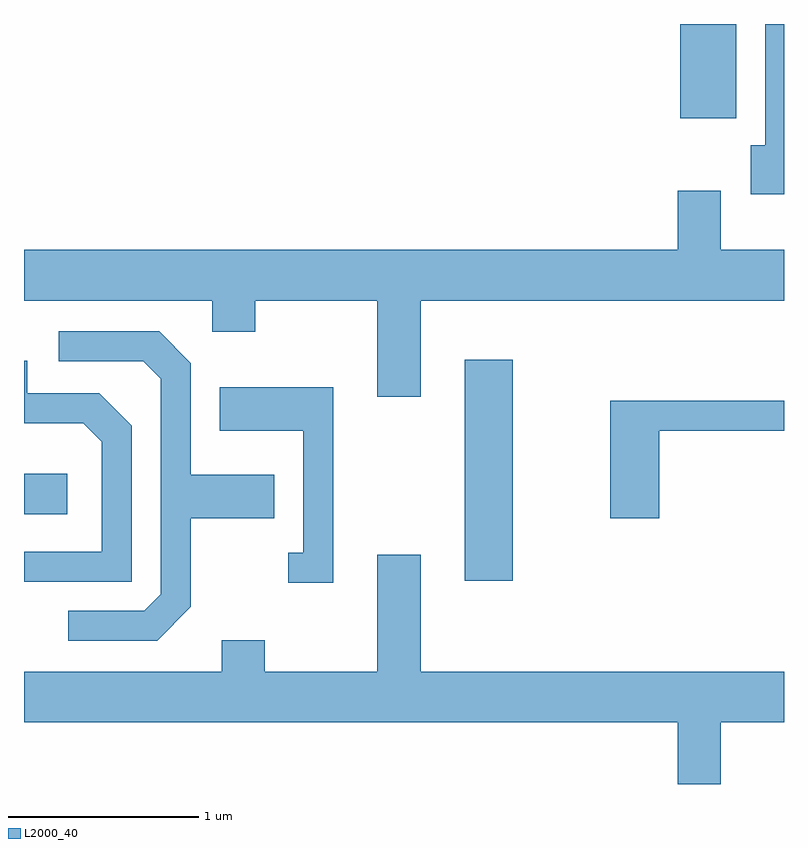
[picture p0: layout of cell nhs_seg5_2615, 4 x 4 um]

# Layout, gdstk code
import gdstk
lib = gdstk.Library(unit=1e-6, precision=1e-09)
def R(c, l, rs):  # rectangles x0, y0, x1, y1
    for r in rs: c.add(gdstk.rectangle(r[:2], r[2:], *l))
def P(c, l, *ps):  # polygons
    for p in ps: c.add(gdstk.Polygon(p, *l))
L2000_40 = (2000, 40)

nhs_seg5_2615 = lib.new_cell('nhs_seg5_2615')
R(nhs_seg5_2615, L2000_40, [(265.931,1413.141,266.184,1414.304), (263.611,1413.491,263.839,1413.704), (267.066,1415.576,267.359,1416.072)])
P(nhs_seg5_2615, L2000_40, [(267.611,1416.072),(267.511,1416.072),(267.511,1415.434),(267.436,1415.434),(267.436,1415.176),(267.611,1415.176)],
  [(265.699,1414.616),(267.611,1414.616),(267.611,1414.884),(267.279,1414.884),(267.279,1415.194),(267.051,1415.194),(267.051,1414.884),(263.611,1414.884),(263.611,1414.616),(264.601,1414.616),(264.601,1414.451),(264.829,1414.451),(264.829,1414.616),(265.471,1414.616),(265.471,1414.111),(265.699,1414.111)],
  [(264.489,1413.004),(264.489,1413.471),(264.929,1413.471),(264.929,1413.699),(264.489,1413.699),(264.489,1414.287),(264.322,1414.454),(263.793,1414.454),(263.793,1414.296),(264.239,1414.296),(264.331,1414.204),(264.331,1413.072),(264.244,1412.984),(263.843,1412.984),(263.843,1412.826),(264.312,1412.826)],
  [(264.179,1413.957),(264.007,1414.129),(263.629,1414.129),(263.629,1414.299),(263.611,1414.299),(263.611,1413.971),(263.924,1413.971),(264.021,1413.874),(264.021,1413.294),(263.611,1413.294),(263.611,1413.136),(264.179,1413.136)],
  [(265.239,1414.159),(264.641,1414.159),(264.641,1413.931),(265.081,1413.931),(265.081,1413.289),(265.003,1413.289),(265.003,1413.131),(265.239,1413.131)],
  [(266.954,1413.931),(267.611,1413.931),(267.611,1414.089),(266.696,1414.089),(266.696,1413.471),(266.954,1413.471)],
  [(267.279,1412.396),(267.611,1412.396),(267.611,1412.664),(265.699,1412.664),(265.699,1413.279),(265.471,1413.279),(265.471,1412.664),(264.879,1412.664),(264.879,1412.829),(264.651,1412.829),(264.651,1412.664),(263.611,1412.664),(263.611,1412.396),(267.051,1412.396),(267.051,1412.072),(267.279,1412.072)])

lib.write_gds('nhs_seg5_2615.gds')
